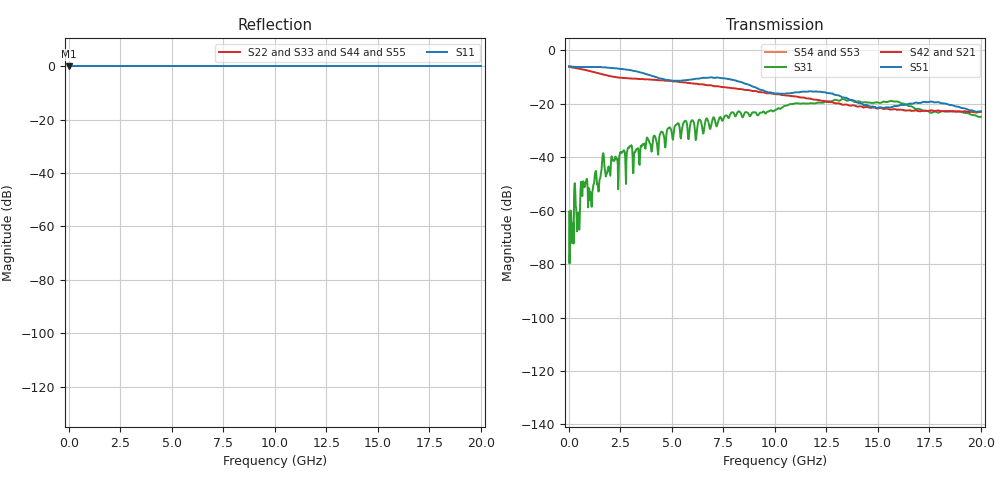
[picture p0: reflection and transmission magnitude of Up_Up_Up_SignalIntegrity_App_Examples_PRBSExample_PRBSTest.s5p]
! File created by SignalIntegrity v1.1.4: Signal and Power Integrity Tools
! https://github.com/TeledyneLeCroy/SignalIntegrity
# MHz MA S R 50.0
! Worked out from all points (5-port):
!   1000 points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, 20 MHz to 20 GHz, reference 50 ohm
!   strongest paths, dB at 20 MHz, 5.02 GHz, 10.02 GHz, 15.02 GHz, 20 GHz:
!     S51: -5.9, -11.3, -16.1, -21.5, -22.8
!     S42: -6.1, -11.5, -16.3, -21.7, -23.0
!     S21: -6.1, -11.5, -16.3, -21.7, -23.0
!     S31: -60.4, -31.7, -22.3, -19.5, -24.8
!     S54: -, -, -, -, -
!     S53: -, -, -, -, -
!   lowest |S11| = 0.0 dB at 20 MHz (marker M1)
!   |S11| at or under -10 dB: nowhere
